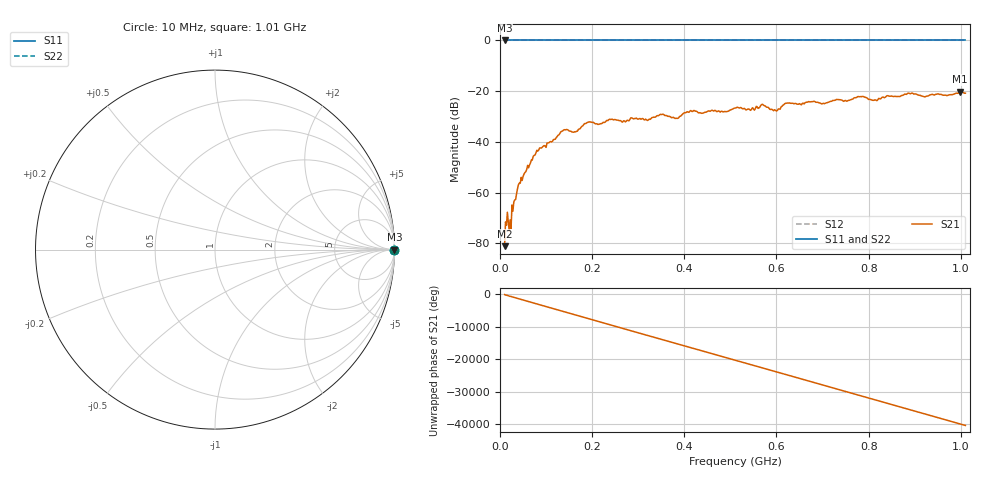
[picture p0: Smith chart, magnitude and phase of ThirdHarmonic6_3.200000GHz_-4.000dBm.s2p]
! 8/17/2025 9:42:47 AM
! C:\ANRITSUVNA\TEMP\TEMP.S2P
! CHANNEL.1
! TR.MEASUREMENT
! RAW.DATA
! RF.CORRECTION.OFF
! AVERAGING.OFF
! IF.BANDWIDTH: 5KHZ
! SWEEPTYPE:  FREQ.SWEEP(Linear)
! Reference Plane Port Info
! PORT:  PORT1  PORT2
! DISTANCE:  0  m  0  m
! TIME:  0  s  0  s
! PHASE.OFFSET:  0  deg.  0  deg.
! LOSS:  0  dB  0  dB
! REF.LOSS:  0  dB  0  dB
! REF.FREQ:  0  Hz  0  Hz
! Power Info
! POWER:  -20  dBm  -20  dBm
! EFF.POWER:  -20  dBm  -20  dBm
! SOURCE.ATTEN:  0  dB  0  dB
! TEST.ATTEN:  0  dB  0  dB
# GHZ S RI R 50.0
! FREQ.GHZ  S11RE  S11IM  S21RE  S21IM  S12RE  S12IM  S22RE  S22IM
!; PortSelection: Port_12
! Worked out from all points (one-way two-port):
!   501 points, 10 MHz to 1.01 GHz, reference 50 ohm
!   highest |S21| = -20.12 dB at 998 MHz (marker M1); lowest = -81.1 dB at 10 MHz (marker M2)
!   lowest |S11| = 0.0 dB at 10 MHz (marker M3)
!   |S11| at or under -10 dB: nowhere
!   |S22| runs from 0.0 to 0.0 dB; largest |S21 - S12| = 1.1
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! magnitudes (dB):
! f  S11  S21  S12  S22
! 10 MHz  0.0  -81.1  0.0  0.0
! 16 MHz  0.0  -67.7  0.0  0.0
! 24 MHz  0.0  -74.2  0.0  0.0
! 30 MHz  0.0  -63.6  0.0  0.0
! 42 MHz  0.0  -56.2  0.0  0.0
! 76 MHz  0.0  -45.2  0.0  0.0
! 136 MHz  0.0  -35.7  0.0  0.0
! 164 MHz  0.0  -36.0  0.0  0.0
! 178 MHz  0.0  -33.8  0.0  0.0
! 344 MHz  0.0  -29.6  0.0  0.0
! 384 MHz  0.0  -30.7  0.0  0.0
! 416 MHz  0.0  -27.9  0.0  0.0
! 510 MHz  0.0  -26.6  0.0  0.0
! 570 MHz  0.0  -25.2  0.0  0.0
! 598 MHz  0.0  -27.5  0.0  0.0
! 622 MHz  0.0  -24.7  0.0  0.0
! 678 MHz  0.0  -24.1  0.0  0.0
! 784 MHz  0.0  -22.2  0.0  0.0
! 814 MHz  0.0  -23.4  0.0  0.0
! 844 MHz  0.0  -21.9  0.0  0.0
! 998 MHz  0.0  -20.1  0.0  0.0
! 1.01 GHz  0.0  -20.8  0.0  0.0
